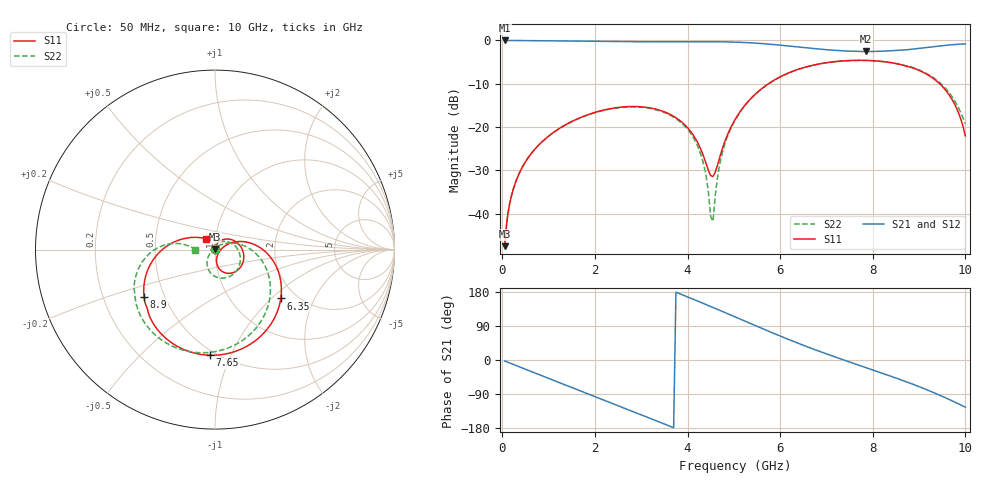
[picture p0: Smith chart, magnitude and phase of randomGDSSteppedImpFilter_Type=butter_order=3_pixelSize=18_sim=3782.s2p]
! freq	dB(S11)	phase(S11)	dB(S12)	phase(S12)
!  dB(S21)	phase(S21)	dB(S22)	phase(S22)
!S-par simulation data
#  GHz  S  DB  R 50
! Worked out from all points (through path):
!   200 points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, 50 MHz to 10 GHz, reference 50 ohm
!   highest |S21| = -0.01 dB at 50 MHz (marker M1); lowest = -2.6 dB at 7.85 GHz (marker M2)
!   group delay of S21, straight-line fit = 134 ps
!   lowest |S11| = -47.5 dB at 50 MHz (marker M3), VSWR 1.01, Z = 50 + j0.421 ohm
!   |S11| at or under -10 dB: start of sweep to 5.747 GHz; 9.444 GHz to end of sweep
!   |S22| runs from -47.5 to -4.6 dB; largest |S21 - S12| = 0
!   S11 on the Smith chart (normalised r, x): 50 MHz: 1.00, +0.01; 6.35 GHz: 1.67, -1.14; 7.65 GHz: 0.47, -0.84; 8.9 GHz: 0.38, -0.26; 10 GHz: 0.90, +0.11
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0.05  -47.50 85.5  -0.01 -2.5  -0.01 -2.5  -47.50 84.9
0.2  -35.77 79.2  -0.02 -9.8  -0.02 -9.8  -35.76 76.8
0.5  -28.03 67.7  -0.04 -24.3  -0.04 -24.3  -28.03 61.5
1.15  -20.90 41.0  -0.10 -55.7  -0.10 -55.7  -20.93 27.6
1.75  -17.54 15.0  -0.17 -84.6  -0.17 -84.6  -17.59 -3.5
2.5  -15.48 -18.2  -0.27 -120.7  -0.27 -120.7  -15.56 -41.5
3.4  -16.12 -57.7  -0.31 -164.0  -0.31 -164.0  -16.25 -86.5
4.2  -23.22 -82.8  -0.29 156.5  -0.29 156.5  -23.95 -129.9
4.35  -26.85 -77.1  -0.29 148.8  -0.29 148.8  -28.67 -141.9
4.5  -31.22 -44.9  -0.29 141.2  -0.29 141.2  -40.69 173.4
4.55  -31.42 -25.0  -0.30 138.6  -0.30 138.6  -41.77 97.5
4.7  -26.81 14.9  -0.32 130.8  -0.32 130.8  -28.33 41.1
5.05  -17.84 20.0  -0.40 112.5  -0.40 112.5  -17.99 15.5
5.65  -10.74 -4.0  -0.76 81.1  -0.76 81.1  -10.77 -17.3
6.35  -6.81 -36.6  -1.46 46.0  -1.46 46.0  -6.84 -52.4
6.7  -5.74 -52.4  -1.85 29.6  -1.85 29.6  -5.77 -68.6
7.65  -4.59 -92.6  -2.53 -11.6  -2.53 -11.6  -4.61 -108.8
7.85  -4.61 -100.8  -2.55 -20.0  -2.55 -20.0  -4.63 -116.8
8.35  -5.06 -121.8  -2.41 -41.0  -2.41 -41.0  -5.05 -136.7
8.9  -6.48 -146.5  -1.94 -65.5  -1.94 -65.5  -6.40 -159.0
9.6  -11.85 173.6  -1.09 -101.4  -1.09 -101.4  -11.42 173.7
10  -22.04 129.1  -0.80 -124.6  -0.80 -124.6  -19.25 179.8
